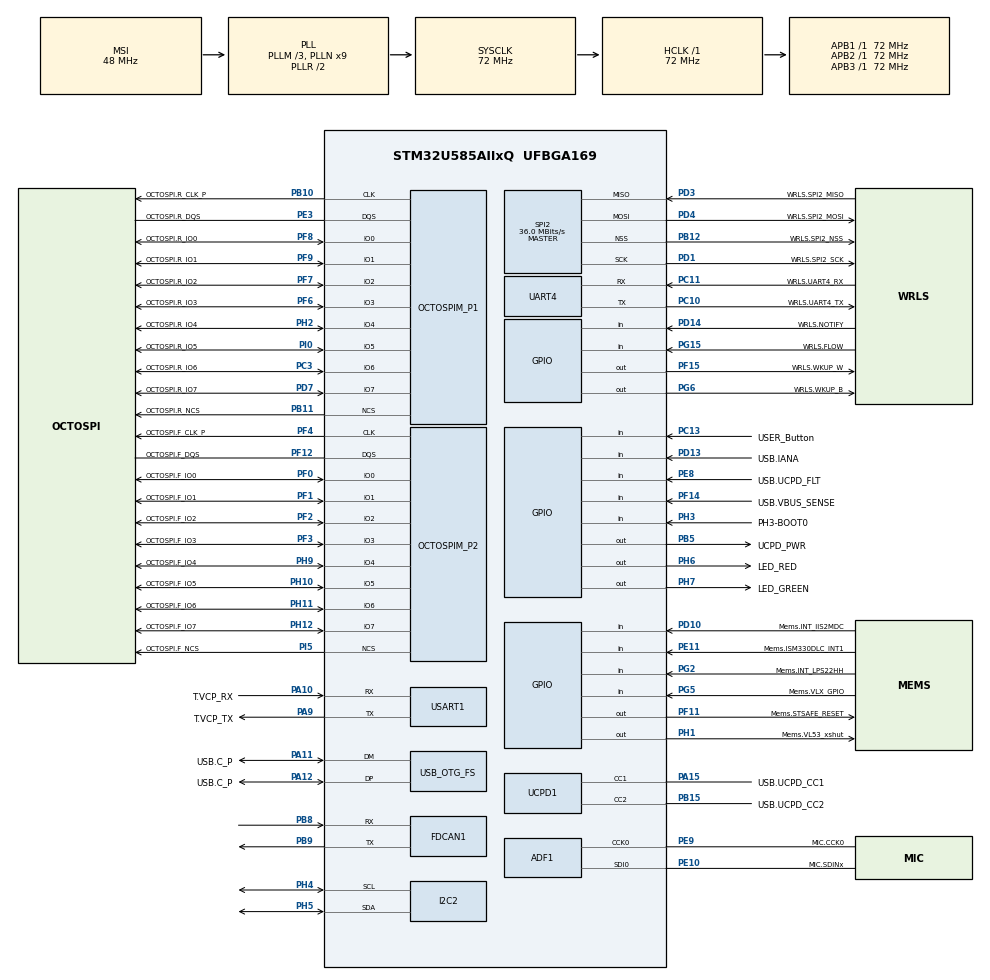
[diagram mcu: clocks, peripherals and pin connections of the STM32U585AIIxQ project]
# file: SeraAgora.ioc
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CORTEX_M33_NS.userName=CORTEX_M33
FDCAN1.CalculateBaudRateNominal=500000
FDCAN1.CalculateTimeBitNominal=2000
FDCAN1.CalculateTimeQuantumNominal=250.0
FDCAN1.NominalPrescaler=9
FDCAN1.NominalTimeSeg1=6
FDCAN1.NominalTimeSeg2=1
I2C2.Timing=0x10808DD3
Mcu.Family=STM32U5
Mcu.Name=STM32U585AIIxQ
Mcu.Package=UFBGA169
NVIC.PriorityGroup=NVIC_PRIORITYGROUP_4
OCTOSPI1.ChipSelectBoundary=10
OCTOSPI1.ClockPrescaler=2
OCTOSPI1.DelayBlockBypass=HAL_OSPI_DELAY_BLOCK_USED
OCTOSPI1.DelayHoldQuarterCycle=HAL_OSPI_DHQC_ENABLE
OCTOSPI1.DeviceSize=23
OCTOSPI1.MemoryType=HAL_OSPI_MEMTYPE_APMEMORY
OCTOSPI1.Refresh=100
OCTOSPI2.ChipSelectBoundary=0
OCTOSPI2.ChipSelectHighTime=2
OCTOSPI2.ClockPrescaler=4
OCTOSPI2.DelayBlockBypass=HAL_OSPI_DELAY_BLOCK_USED
OCTOSPI2.DelayHoldQuarterCycle=HAL_OSPI_DHQC_ENABLE
OCTOSPI2.DeviceSize=26
OCTOSPI2.FifoThreshold=4
OCTOSPI2.MemoryType=HAL_OSPI_MEMTYPE_MACRONIX
PA10.GPIO_Label=T.VCP_RX
PA10.Mode=Asynchronous
PA10.Signal=USART1_RX
PA11.GPIO_Label=USB.C_P
PA11.Mode=Device_Only
PA11.Signal=USB_OTG_FS_DM
PA12.GPIO_Label=USB.C_P
PA12.Mode=Device_Only
PA12.Signal=USB_OTG_FS_DP
PA13\ (JTMS/SWDIO).GPIO_Label=T.SWDIO
PA13\ (JTMS/SWDIO).Mode=Trace_Asynchronous_SW
PA13\ (JTMS/SWDIO).Signal=DEBUG_JTMS-SWDIO
PA14\ (JTCK/SWCLK).GPIO_Label=T.SWCLK
PA14\ (JTCK/SWCLK).Mode=Trace_Asynchronous_SW
PA14\ (JTCK/SWCLK).Signal=DEBUG_JTCK-SWCLK
PA15\ (JTDI).GPIO_Label=USB.UCPD_CC1
PA15\ (JTDI).Mode=Dual_Role_AllSignals
PA15\ (JTDI).Signal=UCPD1_CC1
PA9.GPIO_Label=T.VCP_TX
PA9.Mode=Asynchronous
PA9.Signal=USART1_TX
PB1.GPIO_Label=MIC.SDIN0
PB1.Signal=MDF1_SDI0
PB10.GPIO_Label=OCTOSPI.R_CLK_P
PB10.Mode=O1_P1_CLK
PB10.Signal=OCTOSPIM_P1_CLK
PB11.GPIO_Label=OCTOSPI.R_NCS
PB11.Mode=OCTOSPI1_Port1_NCS
PB11.Signal=OCTOSPIM_P1_NCS
PB12.GPIO_Label=WRLS.SPI2_NSS
PB12.Mode=NSS_Signal_Hard_Output
PB12.Signal=SPI2_NSS
PB15.GPIO_Label=USB.UCPD_CC2
PB15.Mode=Dual_Role_AllSignals
PB15.Signal=UCPD1_CC2
PB3\ (JTDO/TRACESWO).GPIO_Label=T.SWO
PB3\ (JTDO/TRACESWO).Mode=Trace_Asynchronous_SW
PB3\ (JTDO/TRACESWO).Signal=DEBUG_JTDO-SWO
PB5.GPIO_Label=UCPD_PWR
PB5.Signal=GPIO_Output
PB8.Mode=FDCAN_Activate
PB8.Signal=FDCAN1_RX
PB9.Mode=FDCAN_Activate
PB9.Signal=FDCAN1_TX
PC10.GPIO_Label=WRLS.UART4_TX
PC10.Mode=Asynchronous
PC10.Signal=UART4_TX
PC11.GPIO_Label=WRLS.UART4_RX
PC11.Mode=Asynchronous
PC11.Signal=UART4_RX
PC13.GPIO_Label=USER_Button
PC13.Signal=GPIO_Input
PC14-OSC32_IN\ (PC14).GPIO_Label=PC14-OSC32_IN
PC14-OSC32_IN\ (PC14).Mode=LSE-External-Oscillator
PC14-OSC32_IN\ (PC14).Signal=RCC_OSC32_IN
PC15-OSC32_OUT\ (PC15).GPIO_Label=PC15-OSC32_OUT
PC15-OSC32_OUT\ (PC15).Mode=LSE-External-Oscillator
PC15-OSC32_OUT\ (PC15).Signal=RCC_OSC32_OUT
PC3.GPIO_Label=OCTOSPI.R_IO6
PC3.Mode=OCTOSPI1_IOH_Port1H
PC3.Signal=OCTOSPIM_P1_IO6
PD1.GPIO_Label=WRLS.SPI2_SCK
PD1.Mode=Full_Duplex_Master
PD1.Signal=SPI2_SCK
PD10.GPIO_Label=Mems.INT_IIS2MDC
PD10.Signal=GPIO_Input
PD13.GPIO_Label=USB.IANA
PD13.Signal=GPIO_Input
PD14.GPIO_Label=WRLS.NOTIFY
PD14.Signal=GPIO_Input
PD3.GPIO_Label=WRLS.SPI2_MISO
PD3.Mode=Full_Duplex_Master
PD3.Signal=SPI2_MISO
PD4.GPIO_Label=WRLS.SPI2_MOSI
PD4.Mode=Full_Duplex_Master
PD4.Signal=SPI2_MOSI
PD7.GPIO_Label=OCTOSPI.R_IO7
PD7.Mode=OCTOSPI1_IOH_Port1H
PD7.Signal=OCTOSPIM_P1_IO7
PE10.GPIO_Label=MIC.SDINx
PE10.Mode=MOD_ADF_CCK
PE10.Signal=ADF1_SDI0
PE11.GPIO_Label=Mems.ISM330DLC_INT1
PE11.Signal=GPIO_Input
PE3.GPIO_Label=OCTOSPI.R_DQS
PE3.Mode=OCTOSPI1_Port1_DQS
PE3.Signal=OCTOSPIM_P1_DQS
PE8.GPIO_Label=USB.UCPD_FLT
PE8.Signal=GPIO_Input
PE9.GPIO_Label=MIC.CCK0
PE9.Mode=MOD_MDF_CCK0
PE9.Signal=ADF1_CCK0
PF0.GPIO_Label=OCTOSPI.F_IO0
PF0.Mode=OCTOSPI2_IOL_Port2L
PF0.Signal=OCTOSPIM_P2_IO0
PF1.GPIO_Label=OCTOSPI.F_IO1
PF1.Mode=OCTOSPI2_IOL_Port2L
PF1.Signal=OCTOSPIM_P2_IO1
PF10.GPIO_Label=MIC.CCK1
PF10.Signal=MDF1_CCK1
PF11.GPIO_Label=Mems.STSAFE_RESET
PF11.Signal=GPIO_Output
PF12.GPIO_Label=OCTOSPI.F_DQS
PF12.Mode=OCTOSPI2_Port2_DQS
PF12.Signal=OCTOSPIM_P2_DQS
PF14.GPIO_Label=USB.VBUS_SENSE
PF14.Signal=GPIO_Input
PF15.GPIO_Label=WRLS.WKUP_W
PF15.Signal=GPIO_Output
PF2.GPIO_Label=OCTOSPI.F_IO2
PF2.Mode=OCTOSPI2_IOL_Port2L
PF2.Signal=OCTOSPIM_P2_IO2
PF3.GPIO_Label=OCTOSPI.F_IO3
PF3.Mode=OCTOSPI2_IOL_Port2L
PF3.Signal=OCTOSPIM_P2_IO3
PF4.GPIO_Label=OCTOSPI.F_CLK_P
PF4.Mode=O2_P2_CLK
PF4.Signal=OCTOSPIM_P2_CLK
PF6.GPIO_Label=OCTOSPI.R_IO3
PF6.Mode=OCTOSPI1_IOL_Port1L
PF6.Signal=OCTOSPIM_P1_IO3
PF7.GPIO_Label=OCTOSPI.R_IO2
PF7.Mode=OCTOSPI1_IOL_Port1L
PF7.Signal=OCTOSPIM_P1_IO2
PF8.GPIO_Label=OCTOSPI.R_IO0
PF8.Mode=OCTOSPI1_IOL_Port1L
PF8.Signal=OCTOSPIM_P1_IO0
PF9.GPIO_Label=OCTOSPI.R_IO1
PF9.Mode=OCTOSPI1_IOL_Port1L
PF9.Signal=OCTOSPIM_P1_IO1
PG15.GPIO_Label=WRLS.FLOW
PG15.Signal=GPIO_Input
PG2.GPIO_Label=Mems.INT_LPS22HH
PG2.Signal=GPIO_Input
PG5.GPIO_Label=Mems.VLX_GPIO
PG5.Signal=GPIO_Input
PG6.GPIO_Label=WRLS.WKUP_B
PG6.Signal=GPIO_Output
PH1-OSC_OUT\ (PH1).GPIO_Label=Mems.VL53_xshut
PH1-OSC_OUT\ (PH1).Signal=GPIO_Output
PH10.GPIO_Label=OCTOSPI.F_IO5
PH10.Mode=OCTOSPI2_IOH_Port2H
PH10.Signal=OCTOSPIM_P2_IO5
PH11.GPIO_Label=OCTOSPI.F_IO6
PH11.Mode=OCTOSPI2_IOH_Port2H
PH11.Signal=OCTOSPIM_P2_IO6
PH12.GPIO_Label=OCTOSPI.F_IO7
PH12.Mode=OCTOSPI2_IOH_Port2H
PH12.Signal=OCTOSPIM_P2_IO7
PH2.GPIO_Label=OCTOSPI.R_IO4
PH2.Mode=OCTOSPI1_IOH_Port1H
PH2.Signal=OCTOSPIM_P1_IO4
PH3-BOOT0.GPIO_Label=PH3-BOOT0
PH3-BOOT0.Signal=GPIO_Input
PH4.Mode=I2C
PH4.Signal=I2C2_SCL
PH5.Mode=I2C
PH5.Signal=I2C2_SDA
PH6.GPIO_Label=LED_RED
PH6.PinState=GPIO_PIN_SET
PH6.Signal=GPIO_Output
PH7.GPIO_Label=LED_GREEN
PH7.PinState=GPIO_PIN_SET
PH7.Signal=GPIO_Output
PH9.GPIO_Label=OCTOSPI.F_IO4
PH9.Mode=OCTOSPI2_IOH_Port2H
PH9.Signal=OCTOSPIM_P2_IO4
PI0.GPIO_Label=OCTOSPI.R_IO5
PI0.Mode=OCTOSPI1_IOH_Port1H
PI0.Signal=OCTOSPIM_P1_IO5
PI5.GPIO_Label=OCTOSPI.F_NCS
PI5.Mode=OCTOSPI2_Port2_NCS
PI5.Signal=OCTOSPIM_P2_NCS
PWR.PowerMode=PWR_SMPS_SUPPLY
ProjectManager.HeapSize=0x200
ProjectManager.StackSize=0x400
ProjectManager.TargetToolchain=STM32CubeIDE
RCC.ADCFreq_Value=16000000
RCC.AHBFreq_Value=72000000
RCC.APB1Freq_Value=72000000
RCC.APB1TimFreq_Value=72000000
RCC.APB2Freq_Value=72000000
RCC.APB2TimFreq_Value=72000000
RCC.APB3Freq_Value=72000000
RCC.CortexFreq_Value=72000000
RCC.DACCLockSelectionVirtual=RCC_DAC1CLKSOURCE_LSI
RCC.EPOD_VALUE=48000000
RCC.HCLKFreq_Value=72000000
RCC.HSE_VALUE=16000000
RCC.HSI48_VALUE=48000000
RCC.HSI_VALUE=16000000
RCC.LSIDIV_VALUE=32000
RCC.MSIClockRange=RCC_MSIRANGE_0
RCC.MSI_VALUE=48000000
RCC.PLL1Q=4
RCC.PLLFRACN=0
RCC.PLLM=3
RCC.PLLN=9
RCC.SYSCLKFreq_VALUE=72000000
RCC.SYSCLKSource=RCC_SYSCLKSOURCE_PLLCLK
RCC.USBFreq_Value=48000000
RCC.VCOOutputFreq_Value=144000000
SPI2.CalculateBaudRate=36.0 MBits/s
SPI2.Direction=SPI_DIRECTION_2LINES
SPI2.Mode=SPI_MODE_MASTER
SPI2.VirtualNSS=VM_NSSHARD
SPI2.VirtualType=VM_MASTER
USART1.VirtualMode-Asynchronous=VM_ASYNC
USB_OTG_FS.VirtualMode=Device_Only
VP_ICACHE_VS_ICACHE.Mode=DirectMappedCache
VP_LPBAMQUEUE_VS_QUEUE.Mode=QUEUEMODE
VP_LPBAM_VS_SIG1.Mode=SmartRun
VP_LPBAM_VS_SIG4.Mode=LPDMA1
VP_MEMORYMAP_VS_MEMORYMAP.Mode=CurAppReg
VP_OCTOSPI1_VS_octo.Mode=octo_mode
VP_OCTOSPI2_VS_octo.Mode=octo_mode
VP_PWR_VS_DBSignals.Mode=DisableDeadBatterySignals
VP_PWR_VS_LPOM.Mode=PowerOptimisation
VP_PWR_VS_SECSignals.Mode=Security/Privilege
board=B-U585I-IOT02A

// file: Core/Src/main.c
/* USER CODE BEGIN Header */
/**
  ******************************************************************************
  * @file           : main.c
  * @brief          : Main program body
  ******************************************************************************
  * @attention
  *
  * Copyright (c) 2025 STMicroelectronics.
  * All rights reserved.
  *
  * This software is licensed under terms that can be found in the LICENSE file
  * in the root directory of this software component.
  * If no LICENSE file comes with this software, it is provided AS-IS.
  *
  ******************************************************************************
  */
/* USER CODE END Header */
#include "main.h"

/* USER CODE BEGIN Includes */
#include "string.h"
#include <stdio.h>
#include <ctype.h>
/* USER CODE END Includes */

MDF_HandleTypeDef AdfHandle0;
MDF_FilterConfigTypeDef AdfFilterConfig0;

FDCAN_HandleTypeDef hfdcan1;

I2C_HandleTypeDef hi2c2;

OSPI_HandleTypeDef hospi1;
OSPI_HandleTypeDef hospi2;

SPI_HandleTypeDef hspi2;

UART_HandleTypeDef huart4;
UART_HandleTypeDef huart1;

PCD_HandleTypeDef hpcd_USB_OTG_FS;

void SystemClock_Config(void);
static void SystemPower_Config(void);
static void MX_GPIO_Init(void);
static void MX_ADF1_Init(void);
static void MX_I2C2_Init(void);
static void MX_ICACHE_Init(void);
static void MX_OCTOSPI1_Init(void);
static void MX_OCTOSPI2_Init(void);
static void MX_SPI2_Init(void);
static void MX_UART4_Init(void);
static void MX_USART1_UART_Init(void);
static void MX_UCPD1_Init(void);
static void MX_USB_OTG_FS_PCD_Init(void);
static void MX_FDCAN1_Init(void);

int main(void)
{

  /* MCU Configuration--------------------------------------------------------*/

  /* Reset of all peripherals, Initializes the Flash interface and the Systick. */
  HAL_Init();

  /* Configure the System Power */
  SystemPower_Config();

  /* Configure the system clock */
  SystemClock_Config();

  /* Initialize all configured peripherals */
  MX_GPIO_Init();
  MX_ADF1_Init();
  MX_I2C2_Init();
  MX_ICACHE_Init();
  MX_OCTOSPI1_Init();
  MX_OCTOSPI2_Init();
  MX_SPI2_Init();
  MX_UART4_Init();
  MX_USART1_UART_Init();
  MX_UCPD1_Init();
  MX_USB_OTG_FS_PCD_Init();
  MX_FDCAN1_Init();
  /* quick debug note to confirm FDCAN init returned */
  HAL_UART_Transmit(&huart1, (uint8_t*)"After MX_FDCAN1_Init\r\n", strlen("After MX_FDCAN1_Init\r\n"), HAL_MAX_DELAY);
  /* USER CODE BEGIN 2 */
  const char *msg_tick = "Tick\r\n";
  /* Query and print protocol status (helps detect Bus-Off etc.) */
  {
    FDCAN_ProtocolStatusTypeDef pstat;
    if (HAL_FDCAN_GetProtocolStatus(&hfdcan1, &pstat) == HAL_OK)
    {
      char pbuf[64];
      sprintf(pbuf, "FDCAN PS: BusOff=%u EP=%u LastErr=%u\r\n", (unsigned)pstat.BusOff, (unsigned)pstat.ErrorPassive, (unsigned)pstat.LastErrorCode);
      HAL_UART_Transmit(&huart1, (uint8_t*)pbuf, strlen(pbuf), HAL_MAX_DELAY);
    }
  }
  /* Activate notification for RX FIFO0 (idempotent) */
  HAL_FDCAN_ActivateNotification(&hfdcan1, FDCAN_IT_RX_FIFO0_NEW_MESSAGE, 0);

  FDCAN_TxHeaderTypeDef TxHeader;
  /* Send ASCII text limited to 8 bytes (classic CAN data length).
    " Sea mea!" is 9 chars so we truncate to the first 8: " Sea mea" */
//  uint8_t TxData[8] = { 'C', 'H', 'E', 'F', 'E', ' ', 'a', 'm' };
//  uint8_t TxData1[8] = { 'a', 'n', 'h', 'a', ' ', 'd', 'a', 's' };
//  uint8_t TxData2[8] = { '-', 'm', 'e', ' ', 'f', 'o', 'l', 'g' };
//  uint8_t TxData3[8] = { 'a', ' ', '?', '<', '3', ' ', 'S', '2' };
//  uint8_t TxData4[8] = { ' ', ' ', ' ', ' ', ' ', ' ', ' ', ' ' };

  uint8_t TxData[8] = { 'O', 'l', 'a', ' ', 'S', 'e', 'a', ' ' };
  uint8_t TxData1[8] = { 'm', 'e', ' ', 's', 'o', 'm', 'o', 's' };
  uint8_t TxData2[8] = { 'a', ' ', 't', 'e', 'a', 'm', ' ', '4' };
  uint8_t TxData3[8] = { 'd', 'r', 'i', 'v', 'a', 'p', 'i', ' ' };
  uint8_t TxData4[8] = { ' ', ' ', ' ', ' ', ' ', ' ', ' ', ' ' };

  TxHeader.Identifier = 0x123;
  TxHeader.IdType = FDCAN_STANDARD_ID;
  TxHeader.TxFrameType = FDCAN_DATA_FRAME;
  TxHeader.DataLength = FDCAN_DLC_BYTES_8;
  TxHeader.ErrorStateIndicator = FDCAN_ESI_ACTIVE;
  TxHeader.BitRateSwitch = FDCAN_BRS_OFF;
  TxHeader.FDFormat = FDCAN_CLASSIC_CAN;
  TxHeader.TxEventFifoControl = FDCAN_NO_TX_EVENTS;
  TxHeader.MessageMarker = 0;

  FDCAN_RxHeaderTypeDef rxHeader;
  uint8_t rxData[8];

  /* USER CODE END 2 */

  /* Infinite loop */
  while (1)
  {

    /* USER CODE BEGIN 3 */
  /* Periodic heartbeat on UART */
  HAL_UART_Transmit(&huart1, (uint8_t*)msg_tick, strlen(msg_tick), HAL_MAX_DELAY);
  /* Queue a CAN frame; keep the controller running (do NOT Stop/Start here) */
  if (HAL_FDCAN_AddMessageToTxFifoQ(&hfdcan1, &TxHeader, TxData) == HAL_OK)
  {
    HAL_GPIO_TogglePin(LED_GREEN_GPIO_Port, LED_GREEN_Pin);  // blink to show sending
    HAL_UART_Transmit(&huart1, (uint8_t*)"TX queued\r\n", strlen("TX queued\r\n"), HAL_MAX_DELAY);
  }
  else
  {
    char dbuf[128];
    uint32_t free = HAL_FDCAN_GetTxFifoFreeLevel(&hfdcan1);
    FDCAN_ProtocolStatusTypeDef pstat;
    if (HAL_FDCAN_GetProtocolStatus(&hfdcan1, &pstat) == HAL_OK)
    {
      sprintf(dbuf, "TX FAIL free=%lu BusOff=%u LastErr=%u\r\n", (unsigned long)free, (unsigned)pstat.BusOff, (unsigned)pstat.LastErrorCode);
    }
    else
    {
      sprintf(dbuf, "TX FAIL free=%lu ProtocolStatusErr\r\n", (unsigned long)free);
    }
    HAL_UART_Transmit(&huart1, (uint8_t*)dbuf, strlen(dbuf), HAL_MAX_DELAY);
  }
  HAL_Delay(50);
  HAL_FDCAN_AddMessageToTxFifoQ(&hfdcan1, &TxHeader, TxData1);
  HAL_Delay(50);
  HAL_FDCAN_AddMessageToTxFifoQ(&hfdcan1, &TxHeader, TxData2);
  HAL_Delay(50);
  HAL_FDCAN_AddMessageToTxFifoQ(&hfdcan1, &TxHeader, TxData3);
  HAL_Delay(50);
  HAL_FDCAN_AddMessageToTxFifoQ(&hfdcan1, &TxHeader, TxData4);
  HAL_FDCAN_AddMessageToTxFifoQ(&hfdcan1, &TxHeader, TxData4);
  HAL_Delay(1000);
  /* Simple RX polling: if a message is waiting in FIFO0, read it, toggle LED and print a short debug message */
  if (HAL_FDCAN_GetRxFifoFillLevel(&hfdcan1, FDCAN_RX_FIFO0) > 0)
  {
    if (HAL_FDCAN_GetRxMessage(&hfdcan1, FDCAN_RX_FIFO0, &rxHeader, rxData) == HAL_OK)
    {
      HAL_GPIO_TogglePin(LED_RED_GPIO_Port, LED_RED_Pin);
      /* Print received CAN message: ID, DLC and data bytes in hex */
      char rbuf[128];
      const char *idtype = (rxHeader.IdType == FDCAN_STANDARD_ID) ? "STD" : "EXT";
      unsigned int dlc = 0;
      /* Map DataLength enum to actual byte count (common values 0..8) */
      switch (rxHeader.DataLength)
      {
        case FDCAN_DLC_BYTES_0: dlc = 0; break;
        case FDCAN_DLC_BYTES_1: dlc = 1; break;
        case FDCAN_DLC_BYTES_2: dlc = 2; break;
        case FDCAN_DLC_BYTES_3: dlc = 3; break;
        case FDCAN_DLC_BYTES_4: dlc = 4; break;
        case FDCAN_DLC_BYTES_5: dlc = 5; break;
        case FDCAN_DLC_BYTES_6: dlc = 6; break;
        case FDCAN_DLC_BYTES_7: dlc = 7; break;
        case FDCAN_DLC_BYTES_8: dlc = 8; break;
        default: dlc = 8; break;
      }
      int pos = sprintf(rbuf, "RX %s ID=0x%lX DLC=%u DATA=", idtype, (unsigned long)rxHeader.Identifier, dlc);
      for (unsigned int i = 0; i < dlc && i < sizeof(rxData); ++i)
      {
        pos += sprintf(rbuf + pos, "%02X%s", rxData[i], (i+1<dlc) ? " " : "");
      }
      /* Append ASCII representation (printable chars or '.' for non-printable) */
      pos += sprintf(rbuf + pos, "  ASCII=\"");
      for (unsigned int i = 0; i < dlc && i < sizeof(rxData); ++i)
      {
        unsigned char c = rxData[i];
        rbuf[pos++] = (isprint(c) ? (char)c : '.');
      }
      pos += sprintf(rbuf + pos, "\"\r\n");
      HAL_UART_Transmit(&huart1, (uint8_t*)rbuf, pos, HAL_MAX_DELAY);
    }
  }

  HAL_Delay(1000);

  }
  /* USER CODE END 3 */
}

void SystemClock_Config(void)
{
  RCC_OscInitTypeDef RCC_OscInitStruct = {0};
  RCC_ClkInitTypeDef RCC_ClkInitStruct = {0};

  /** Configure the main internal regulator output voltage
  */
  if (HAL_PWREx_ControlVoltageScaling(PWR_REGULATOR_VOLTAGE_SCALE2) != HAL_OK)
  {
    Error_Handler();
  }

  /** Initializes the CPU, AHB and APB buses clocks
  */
  RCC_OscInitStruct.OscillatorType = RCC_OSCILLATORTYPE_HSI48|RCC_OSCILLATORTYPE_HSI
                              |RCC_OSCILLATORTYPE_MSI;
  RCC_OscInitStruct.HSIState = RCC_HSI_ON;
  RCC_OscInitStruct.HSI48State = RCC_HSI48_ON;
  RCC_OscInitStruct.HSICalibrationValue = RCC_HSICALIBRATION_DEFAULT;
  RCC_OscInitStruct.MSIState = RCC_MSI_ON;
  RCC_OscInitStruct.MSICalibrationValue = RCC_MSICALIBRATION_DEFAULT;
  RCC_OscInitStruct.MSIClockRange = RCC_MSIRANGE_0;
  RCC_OscInitStruct.PLL.PLLState = RCC_PLL_ON;
  RCC_OscInitStruct.PLL.PLLSource = RCC_PLLSOURCE_MSI;
  RCC_OscInitStruct.PLL.PLLMBOOST = RCC_PLLMBOOST_DIV4;
  RCC_OscInitStruct.PLL.PLLM = 3;
  RCC_OscInitStruct.PLL.PLLN = 9;
  RCC_OscInitStruct.PLL.PLLP = 2;
  RCC_OscInitStruct.PLL.PLLQ = 4;
  RCC_OscInitStruct.PLL.PLLR = 2;
  RCC_OscInitStruct.PLL.PLLRGE = RCC_PLLVCIRANGE_1;
  RCC_OscInitStruct.PLL.PLLFRACN = 0;
  if (HAL_RCC_OscConfig(&RCC_OscInitStruct) != HAL_OK)
  {
    Error_Handler();
  }

  /** Initializes the CPU, AHB and APB buses clocks
  */
  RCC_ClkInitStruct.ClockType = RCC_CLOCKTYPE_HCLK|RCC_CLOCKTYPE_SYSCLK
                              |RCC_CLOCKTYPE_PCLK1|RCC_CLOCKTYPE_PCLK2
                              |RCC_CLOCKTYPE_PCLK3;
  RCC_ClkInitStruct.SYSCLKSource = RCC_SYSCLKSOURCE_PLLCLK;
  RCC_ClkInitStruct.AHBCLKDivider = RCC_SYSCLK_DIV1;
  RCC_ClkInitStruct.APB1CLKDivider = RCC_HCLK_DIV1;
  RCC_ClkInitStruct.APB2CLKDivider = RCC_HCLK_DIV1;
  RCC_ClkInitStruct.APB3CLKDivider = RCC_HCLK_DIV1;

  if (HAL_RCC_ClockConfig(&RCC_ClkInitStruct, FLASH_LATENCY_2) != HAL_OK)
  {
    Error_Handler();
  }
}

/**
  * @brief Power Configuration
  * @retval None
  */
static void SystemPower_Config(void)
{
  HAL_PWREx_EnableVddIO2();

  /*
   * Switch to SMPS regulator instead of LDO
   */
  if (HAL_PWREx_ConfigSupply(PWR_SMPS_SUPPLY) != HAL_OK)
  {
    Error_Handler();
  }
}

static void MX_ADF1_Init(void)
{

  /**
    AdfHandle0 structure initialization and HAL_MDF_Init function call
  */
  AdfHandle0.Instance = ADF1_Filter0;
  AdfHandle0.Init.CommonParam.ProcClockDivider = 1;
  AdfHandle0.Init.CommonParam.OutputClock.Activation = DISABLE;
  AdfHandle0.Init.SerialInterface.Activation = ENABLE;
  AdfHandle0.Init.SerialInterface.Mode = MDF_SITF_LF_MASTER_SPI_MODE;
  AdfHandle0.Init.SerialInterface.ClockSource = MDF_SITF_CCK0_SOURCE;
  AdfHandle0.Init.SerialInterface.Threshold = 4;
  AdfHandle0.Init.FilterBistream = MDF_BITSTREAM0_FALLING;
  if (HAL_MDF_Init(&AdfHandle0) != HAL_OK)
  {
    Error_Handler();
  }

  /**
    AdfFilterConfig0 structure initialization

    WARNING : only structure is filled, no specific init function call for filter
  */
  AdfFilterConfig0.DataSource = MDF_DATA_SOURCE_BSMX;
  AdfFilterConfig0.Delay = 0;
  AdfFilterConfig0.CicMode = MDF_ONE_FILTER_SINC4;
  AdfFilterConfig0.DecimationRatio = 2;
  AdfFilterConfig0.Gain = 0;
  AdfFilterConfig0.ReshapeFilter.Activation = DISABLE;
  AdfFilterConfig0.HighPassFilter.Activation = DISABLE;
  AdfFilterConfig0.SoundActivity.Activation = DISABLE;
  AdfFilterConfig0.AcquisitionMode = MDF_MODE_ASYNC_CONT;
  AdfFilterConfig0.FifoThreshold = MDF_FIFO_THRESHOLD_NOT_EMPTY;
  AdfFilterConfig0.DiscardSamples = 0;

}

static void MX_FDCAN1_Init(void)
{
    char *msg;

    FDCAN_FilterTypeDef sFilterConfig;

    hfdcan1.Instance = FDCAN1;
    hfdcan1.Init.ClockDivider = FDCAN_CLOCK_DIV1;
    hfdcan1.Init.FrameFormat = FDCAN_FRAME_CLASSIC;
    hfdcan1.Init.Mode = FDCAN_MODE_NORMAL;
    hfdcan1.Init.AutoRetransmission = ENABLE;
    hfdcan1.Init.TransmitPause = DISABLE;
    hfdcan1.Init.ProtocolException = ENABLE;

    // Timing: 36 MHz CAN clock → ~500 kbps nominal bit rate
    hfdcan1.Init.NominalPrescaler = 4;
    hfdcan1.Init.NominalSyncJumpWidth = 1;
    hfdcan1.Init.NominalTimeSeg1 = 15;
    hfdcan1.Init.NominalTimeSeg2 = 2;

    // Data phase (not used in classic CAN)
    hfdcan1.Init.DataPrescaler = 1;
    hfdcan1.Init.DataSyncJumpWidth = 1;
    hfdcan1.Init.DataTimeSeg1 = 1;
    hfdcan1.Init.DataTimeSeg2 = 1;

    hfdcan1.Init.StdFiltersNbr = 1;
    hfdcan1.Init.ExtFiltersNbr = 0;
    hfdcan1.Init.TxFifoQueueMode = FDCAN_TX_QUEUE_OPERATION;

    // Initialize FDCAN
    if (HAL_FDCAN_Init(&hfdcan1) != HAL_OK)
    {
        msg = "FDCAN Init Failed\r\n";
        HAL_UART_Transmit(&huart1, (uint8_t*)msg, strlen(msg), HAL_MAX_DELAY);
        Error_Handler();
    }
    else
    {
        msg = "FDCAN Init OK\r\n";
        HAL_UART_Transmit(&huart1, (uint8_t*)msg, strlen(msg), HAL_MAX_DELAY);
    }

    // Configure filter to accept all standard IDs into RX FIFO 0
    sFilterConfig.IdType = FDCAN_STANDARD_ID;
    sFilterConfig.FilterIndex = 0;
    sFilterConfig.FilterType = FDCAN_FILTER_RANGE;
    sFilterConfig.FilterConfig = FDCAN_FILTER_TO_RXFIFO0;
    sFilterConfig.FilterID1 = 0x000;
    sFilterConfig.FilterID2 = 0x7FF;
    if (HAL_FDCAN_ConfigFilter(&hfdcan1, &sFilterConfig) != HAL_OK)
    {
        msg = "FDCAN Filter Config Failed\r\n";
        HAL_UART_Transmit(&huart1, (uint8_t*)msg, strlen(msg), HAL_MAX_DELAY);
        Error_Handler();
    }

    // Activate notifications
    HAL_FDCAN_ActivateNotification(&hfdcan1, FDCAN_IT_RX_FIFO0_NEW_MESSAGE, 0);

    // Start the CAN controller
    if (HAL_FDCAN_Start(&hfdcan1) != HAL_OK)
    {
        msg = "FDCAN Start Failed\r\n";
        HAL_UART_Transmit(&huart1, (uint8_t*)msg, strlen(msg), HAL_MAX_DELAY);
        Error_Handler();
    }
    else
    {
        msg = "FDCAN Started OK\r\n";
        HAL_UART_Transmit(&huart1, (uint8_t*)msg, strlen(msg), HAL_MAX_DELAY);
    }
}

static void MX_I2C2_Init(void)
{

  hi2c2.Instance = I2C2;
  hi2c2.Init.Timing = 0x10808DD3;
  hi2c2.Init.OwnAddress1 = 0;
  hi2c2.Init.AddressingMode = I2C_ADDRESSINGMODE_7BIT;
  hi2c2.Init.DualAddressMode = I2C_DUALADDRESS_DISABLE;
  hi2c2.Init.OwnAddress2 = 0;
  hi2c2.Init.OwnAddress2Masks = I2C_OA2_NOMASK;
  hi2c2.Init.GeneralCallMode = I2C_GENERALCALL_DISABLE;
  hi2c2.Init.NoStretchMode = I2C_NOSTRETCH_DISABLE;
  if (HAL_I2C_Init(&hi2c2) != HAL_OK)
  {
    Error_Handler();
  }

  /** Configure Analogue filter
  */
  if (HAL_I2CEx_ConfigAnalogFilter(&hi2c2, I2C_ANALOGFILTER_ENABLE) != HAL_OK)
  {
    Error_Handler();
  }

  /** Configure Digital filter
  */
  if (HAL_I2CEx_ConfigDigitalFilter(&hi2c2, 0) != HAL_OK)
  {
    Error_Handler();
  }

}

static void MX_ICACHE_Init(void)
{

  /** Enable instruction cache in 1-way (direct mapped cache)
  */
  if (HAL_ICACHE_ConfigAssociativityMode(ICACHE_1WAY) != HAL_OK)
  {
    Error_Handler();
  }
  if (HAL_ICACHE_Enable() != HAL_OK)
  {
    Error_Handler();
  }

}

static void MX_OCTOSPI1_Init(void)
{

  OSPIM_CfgTypeDef sOspiManagerCfg = {0};
  HAL_OSPI_DLYB_CfgTypeDef HAL_OSPI_DLYB_Cfg_Struct = {0};

  /* OCTOSPI1 parameter configuration*/
  hospi1.Instance = OCTOSPI1;
  hospi1.Init.FifoThreshold = 1;
  hospi1.Init.DualQuad = HAL_OSPI_DUALQUAD_DISABLE;
  hospi1.Init.MemoryType = HAL_OSPI_MEMTYPE_APMEMORY;
  hospi1.Init.DeviceSize = 23;
  hospi1.Init.ChipSelectHighTime = 1;
  hospi1.Init.FreeRunningClock = HAL_OSPI_FREERUNCLK_DISABLE;
  hospi1.Init.ClockMode = HAL_OSPI_CLOCK_MODE_0;
  hospi1.Init.WrapSize = HAL_OSPI_WRAP_NOT_SUPPORTED;
  hospi1.Init.ClockPrescaler = 2;
  hospi1.Init.SampleShifting = HAL_OSPI_SAMPLE_SHIFTING_NONE;
  hospi1.Init.DelayHoldQuarterCycle = HAL_OSPI_DHQC_ENABLE;
  hospi1.Init.ChipSelectBoundary = 10;
  hospi1.Init.DelayBlockBypass = HAL_OSPI_DELAY_BLOCK_USED;
  hospi1.Init.MaxTran = 0;
  hospi1.Init.Refresh = 100;
  if (HAL_OSPI_Init(&hospi1) != HAL_OK)
  {
    Error_Handler();
  }
  sOspiManagerCfg.ClkPort = 1;
  sOspiManagerCfg.DQSPort = 1;
  sOspiManagerCfg.NCSPort = 1;
  sOspiManagerCfg.IOLowPort = HAL_OSPIM_IOPORT_1_LOW;
  sOspiManagerCfg.IOHighPort = HAL_OSPIM_IOPORT_1_HIGH;
  if (HAL_OSPIM_Config(&hospi1, &sOspiManagerCfg, HAL_OSPI_TIMEOUT_DEFAULT_VALUE) != HAL_OK)
  {
    Error_Handler();
  }
  HAL_OSPI_DLYB_Cfg_Struct.Units = 0;
  HAL_OSPI_DLYB_Cfg_Struct.PhaseSel = 0;
  if (HAL_OSPI_DLYB_SetConfig(&hospi1, &HAL_OSPI_DLYB_Cfg_Struct) != HAL_OK)
  {
    Error_Handler();
  }

}

static void MX_OCTOSPI2_Init(void)
{

  OSPIM_CfgTypeDef sOspiManagerCfg = {0};
  HAL_OSPI_DLYB_CfgTypeDef HAL_OSPI_DLYB_Cfg_Struct = {0};

  /* OCTOSPI2 parameter configuration*/
  hospi2.Instance = OCTOSPI2;
  hospi2.Init.FifoThreshold = 4;
  hospi2.Init.DualQuad = HAL_OSPI_DUALQUAD_DISABLE;
  hospi2.Init.MemoryType = HAL_OSPI_MEMTYPE_MACRONIX;
  hospi2.Init.DeviceSize = 26;
  hospi2.Init.ChipSelectHighTime = 2;
  hospi2.Init.FreeRunningClock = HAL_OSPI_FREERUNCLK_DISABLE;
  hospi2.Init.ClockMode = HAL_OSPI_CLOCK_MODE_0;
  hospi2.Init.WrapSize = HAL_OSPI_WRAP_NOT_SUPPORTED;
  hospi2.Init.ClockPrescaler = 4;
  hospi2.Init.SampleShifting = HAL_OSPI_SAMPLE_SHIFTING_NONE;
  hospi2.Init.DelayHoldQuarterCycle = HAL_OSPI_DHQC_ENABLE;
  hospi2.Init.ChipSelectBoundary = 0;
  hospi2.Init.DelayBlockBypass = HAL_OSPI_DELAY_BLOCK_USED;
  hospi2.Init.MaxTran = 0;
  hospi2.Init.Refresh = 0;
  if (HAL_OSPI_Init(&hospi2) != HAL_OK)
  {
    Error_Handler();
  }
  sOspiManagerCfg.ClkPort = 2;
  sOspiManagerCfg.DQSPort = 2;
  sOspiManagerCfg.NCSPort = 2;
  sOspiManagerCfg.IOLowPort = HAL_OSPIM_IOPORT_2_LOW;
  sOspiManagerCfg.IOHighPort = HAL_OSPIM_IOPORT_2_HIGH;
  if (HAL_OSPIM_Config(&hospi2, &sOspiManagerCfg, HAL_OSPI_TIMEOUT_DEFAULT_VALUE) != HAL_OK)
  {
    Error_Handler();
  }
  HAL_OSPI_DLYB_Cfg_Struct.Units = 0;
  HAL_OSPI_DLYB_Cfg_Struct.PhaseSel = 0;
  if (HAL_OSPI_DLYB_SetConfig(&hospi2, &HAL_OSPI_DLYB_Cfg_Struct) != HAL_OK)
  {
    Error_Handler();
  }

}

static void MX_SPI2_Init(void)
{

  SPI_AutonomousModeConfTypeDef HAL_SPI_AutonomousMode_Cfg_Struct = {0};

  /* SPI2 parameter configuration*/
  hspi2.Instance = SPI2;
  hspi2.Init.Mode = SPI_MODE_MASTER;
  hspi2.Init.Direction = SPI_DIRECTION_2LINES;
  hspi2.Init.DataSize = SPI_DATASIZE_4BIT;
  hspi2.Init.CLKPolarity = SPI_POLARITY_LOW;
  hspi2.Init.CLKPhase = SPI_PHASE_1EDGE;
  hspi2.Init.NSS = SPI_NSS_HARD_OUTPUT;
  hspi2.Init.BaudRatePrescaler = SPI_BAUDRATEPRESCALER_2;
  hspi2.Init.FirstBit = SPI_FIRSTBIT_MSB;
  hspi2.Init.TIMode = SPI_TIMODE_DISABLE;
  hspi2.Init.CRCCalculation = SPI_CRCCALCULATION_DISABLE;
  hspi2.Init.CRCPolynomial = 0x7;
  hspi2.Init.NSSPMode = SPI_NSS_PULSE_ENABLE;
  hspi2.Init.NSSPolarity = SPI_NSS_POLARITY_LOW;
  hspi2.Init.FifoThreshold = SPI_FIFO_THRESHOLD_01DATA;
  hspi2.Init.MasterSSIdleness = SPI_MASTER_SS_IDLENESS_00CYCLE;
  hspi2.Init.MasterInterDataIdleness = SPI_MASTER_INTERDATA_IDLENESS_00CYCLE;
  hspi2.Init.MasterReceiverAutoSusp = SPI_MASTER_RX_AUTOSUSP_DISABLE;
  hspi2.Init.MasterKeepIOState = SPI_MASTER_KEEP_IO_STATE_DISABLE;
  hspi2.Init.IOSwap = SPI_IO_SWAP_DISABLE;
  hspi2.Init.ReadyMasterManagement = SPI_RDY_MASTER_MANAGEMENT_INTERNALLY;
  hspi2.Init.ReadyPolarity = SPI_RDY_POLARITY_HIGH;
  if (HAL_SPI_Init(&hspi2) != HAL_OK)
  {
    Error_Handler();
  }
  HAL_SPI_AutonomousMode_Cfg_Struct.TriggerState = SPI_AUTO_MODE_DISABLE;
  HAL_SPI_AutonomousMode_Cfg_Struct.TriggerSelection = SPI_GRP1_GPDMA_CH0_TCF_TRG;
  HAL_SPI_AutonomousMode_Cfg_Struct.TriggerPolarity = SPI_TRIG_POLARITY_RISING;
  if (HAL_SPIEx_SetConfigAutonomousMode(&hspi2, &HAL_SPI_AutonomousMode_Cfg_Struct) != HAL_OK)
  {
    Error_Handler();
  }

}

static void MX_UART4_Init(void)
{

  huart4.Instance = UART4;
  huart4.Init.BaudRate = 115200;
  huart4.Init.WordLength = UART_WORDLENGTH_8B;
  huart4.Init.StopBits = UART_STOPBITS_1;
  huart4.Init.Parity = UART_PARITY_NONE;
  huart4.Init.Mode = UART_MODE_TX_RX;
  huart4.Init.HwFlowCtl = UART_HWCONTROL_NONE;
  huart4.Init.OverSampling = UART_OVERSAMPLING_16;
  huart4.Init.OneBitSampling = UART_ONE_BIT_SAMPLE_DISABLE;
  huart4.Init.ClockPrescaler = UART_PRESCALER_DIV1;
  huart4.AdvancedInit.AdvFeatureInit = UART_ADVFEATURE_NO_INIT;
  if (HAL_UART_Init(&huart4) != HAL_OK)
  {
    Error_Handler();
  }
  if (HAL_UARTEx_SetTxFifoThreshold(&huart4, UART_TXFIFO_THRESHOLD_1_8) != HAL_OK)
  {
    Error_Handler();
  }
  if (HAL_UARTEx_SetRxFifoThreshold(&huart4, UART_RXFIFO_THRESHOLD_1_8) != HAL_OK)
  {
    Error_Handler();
  }
  if (HAL_UARTEx_DisableFifoMode(&huart4) != HAL_OK)
  {
    Error_Handler();
  }

}

static void MX_USART1_UART_Init(void)
{

  huart1.Instance = USART1;
  huart1.Init.BaudRate = 115200;
  huart1.Init.WordLength = UART_WORDLENGTH_8B;
  huart1.Init.StopBits = UART_STOPBITS_1;
  huart1.Init.Parity = UART_PARITY_NONE;
  huart1.Init.Mode = UART_MODE_TX_RX;
  huart1.Init.HwFlowCtl = UART_HWCONTROL_NONE;
  huart1.Init.OverSampling = UART_OVERSAMPLING_16;
  huart1.Init.OneBitSampling = UART_ONE_BIT_SAMPLE_DISABLE;
  huart1.Init.ClockPrescaler = UART_PRESCALER_DIV1;
  huart1.AdvancedInit.AdvFeatureInit = UART_ADVFEATURE_NO_INIT;
  if (HAL_UART_Init(&huart1) != HAL_OK)
  {
    Error_Handler();
  }
  if (HAL_UARTEx_SetTxFifoThreshold(&huart1, UART_TXFIFO_THRESHOLD_1_8) != HAL_OK)
  {
    Error_Handler();
  }
  if (HAL_UARTEx_SetRxFifoThreshold(&huart1, UART_RXFIFO_THRESHOLD_1_8) != HAL_OK)
  {
    Error_Handler();
  }
  if (HAL_UARTEx_DisableFifoMode(&huart1) != HAL_OK)
  {
    Error_Handler();
  }

}

static void MX_UCPD1_Init(void)
{

  LL_GPIO_InitTypeDef GPIO_InitStruct = {0};

  /* Peripheral clock enable */
  LL_APB1_GRP2_EnableClock(LL_APB1_GRP2_PERIPH_UCPD1);

  LL_AHB2_GRP1_EnableClock(LL_AHB2_GRP1_PERIPH_GPIOA);
  LL_AHB2_GRP1_EnableClock(LL_AHB2_GRP1_PERIPH_GPIOB);
  /**UCPD1 GPIO Configuration
  PA15 (JTDI)   ------> UCPD1_CC1
  PB15   ------> UCPD1_CC2
  */
  GPIO_InitStruct.Pin = LL_GPIO_PIN_15;
  GPIO_InitStruct.Mode = LL_GPIO_MODE_ANALOG;
  GPIO_InitStruct.Pull = LL_GPIO_PULL_NO;
  LL_GPIO_Init(GPIOA, &GPIO_InitStruct);

  GPIO_InitStruct.Pin = LL_GPIO_PIN_15;
  GPIO_InitStruct.Mode = LL_GPIO_MODE_ANALOG;
  GPIO_InitStruct.Pull = LL_GPIO_PULL_NO;
  LL_GPIO_Init(GPIOB, &GPIO_InitStruct);

}

static void MX_USB_OTG_FS_PCD_Init(void)
{

  hpcd_USB_OTG_FS.Instance = USB_OTG_FS;
  hpcd_USB_OTG_FS.Init.dev_endpoints = 6;
  hpcd_USB_OTG_FS.Init.speed = PCD_SPEED_FULL;
  hpcd_USB_OTG_FS.Init.phy_itface = PCD_PHY_EMBEDDED;
  hpcd_USB_OTG_FS.Init.Sof_enable = DISABLE;
  hpcd_USB_OTG_FS.Init.low_power_enable = DISABLE;
  hpcd_USB_OTG_FS.Init.lpm_enable = DISABLE;
  hpcd_USB_OTG_FS.Init.battery_charging_enable = DISABLE;
  hpcd_USB_OTG_FS.Init.use_dedicated_ep1 = DISABLE;
  hpcd_USB_OTG_FS.Init.vbus_sensing_enable = DISABLE;
  hpcd_USB_OTG_FS.Init.dma_enable = DISABLE;
  if (HAL_PCD_Init(&hpcd_USB_OTG_FS) != HAL_OK)
  {
    Error_Handler();
  }

}

static void MX_GPIO_Init(void)
{
  GPIO_InitTypeDef GPIO_InitStruct = {0};

  /* GPIO Ports Clock Enable */
  __HAL_RCC_GPIOG_CLK_ENABLE();
  __HAL_RCC_GPIOC_CLK_ENABLE();
  __HAL_RCC_GPIOA_CLK_ENABLE();
  __HAL_RCC_GPIOI_CLK_ENABLE();
  __HAL_RCC_GPIOH_CLK_ENABLE();
  __HAL_RCC_GPIOB_CLK_ENABLE();
  __HAL_RCC_GPIOD_CLK_ENABLE();
  __HAL_RCC_GPIOE_CLK_ENABLE();
  __HAL_RCC_GPIOF_CLK_ENABLE();

  /*Configure GPIO pin Output Level */
  HAL_GPIO_WritePin(UCPD_PWR_GPIO_Port, UCPD_PWR_Pin, GPIO_PIN_RESET);

  /*Configure GPIO pin Output Level */
  HAL_GPIO_WritePin(GPIOH, LED_RED_Pin|LED_GREEN_Pin, GPIO_PIN_SET);

  /*Configure GPIO pin Output Level */
  HAL_GPIO_WritePin(WRLS_WKUP_B_GPIO_Port, WRLS_WKUP_B_Pin, GPIO_PIN_RESET);

  /*Configure GPIO pin Output Level */
  HAL_GPIO_WritePin(Mems_VL53_xshut_GPIO_Port, Mems_VL53_xshut_Pin, GPIO_PIN_RESET);

  /*Configure GPIO pin Output Level */
  HAL_GPIO_WritePin(GPIOF, Mems_STSAFE_RESET_Pin|WRLS_WKUP_W_Pin, GPIO_PIN_RESET);

  /*Configure GPIO pins : WRLS_FLOW_Pin Mems_VLX_GPIO_Pin Mems_INT_LPS22HH_Pin */
  GPIO_InitStruct.Pin = WRLS_FLOW_Pin|Mems_VLX_GPIO_Pin|Mems_INT_LPS22HH_Pin;
  GPIO_InitStruct.Mode = GPIO_MODE_INPUT;
  GPIO_InitStruct.Pull = GPIO_NOPULL;
  HAL_GPIO_Init(GPIOG, &GPIO_InitStruct);

  /*Configure GPIO pin : PH3_BOOT0_Pin */
  GPIO_InitStruct.Pin = PH3_BOOT0_Pin;
  GPIO_InitStruct.Mode = GPIO_MODE_INPUT;
  GPIO_InitStruct.Pull = GPIO_NOPULL;
  HAL_GPIO_Init(PH3_BOOT0_GPIO_Port, &GPIO_InitStruct);

  /*Configure GPIO pin : UCPD_PWR_Pin */
  GPIO_InitStruct.Pin = UCPD_PWR_Pin;
  GPIO_InitStruct.Mode = GPIO_MODE_OUTPUT_PP;
  GPIO_InitStruct.Pull = GPIO_NOPULL;
  GPIO_InitStruct.Speed = GPIO_SPEED_FREQ_LOW;
  HAL_GPIO_Init(UCPD_PWR_GPIO_Port, &GPIO_InitStruct);

  /*Configure GPIO pin : USER_Button_Pin */
  GPIO_InitStruct.Pin = USER_Button_Pin;
  GPIO_InitStruct.Mode = GPIO_MODE_INPUT;
  GPIO_InitStruct.Pull = GPIO_NOPULL;
  HAL_GPIO_Init(USER_Button_GPIO_Port, &GPIO_InitStruct);

  /*Configure GPIO pins : LED_RED_Pin LED_GREEN_Pin Mems_VL53_xshut_Pin */
  GPIO_InitStruct.Pin = LED_RED_Pin|LED_GREEN_Pin|Mems_VL53_xshut_Pin;
  GPIO_InitStruct.Mode = GPIO_MODE_OUTPUT_PP;
  GPIO_InitStruct.Pull = GPIO_NOPULL;
  GPIO_InitStruct.Speed = GPIO_SPEED_FREQ_LOW;
  HAL_GPIO_Init(GPIOH, &GPIO_InitStruct);

  /*Configure GPIO pin : MIC_CCK1_Pin */
  GPIO_InitStruct.Pin = MIC_CCK1_Pin;
  GPIO_InitStruct.Mode = GPIO_MODE_AF_PP;
  GPIO_InitStruct.Pull = GPIO_NOPULL;
  GPIO_InitStruct.Speed = GPIO_SPEED_FREQ_LOW;
  GPIO_InitStruct.Alternate = GPIO_AF6_MDF1;
  HAL_GPIO_Init(MIC_CCK1_GPIO_Port, &GPIO_InitStruct);

  /*Configure GPIO pin : WRLS_WKUP_B_Pin */
  GPIO_InitStruct.Pin = WRLS_WKUP_B_Pin;
  GPIO_InitStruct.Mode = GPIO_MODE_OUTPUT_PP;
  GPIO_InitStruct.Pull = GPIO_NOPULL;
  GPIO_InitStruct.Speed = GPIO_SPEED_FREQ_LOW;
  HAL_GPIO_Init(WRLS_WKUP_B_GPIO_Port, &GPIO_InitStruct);

  /*Configure GPIO pins : WRLS_NOTIFY_Pin Mems_INT_IIS2MDC_Pin USB_IANA_Pin */
  GPIO_InitStruct.Pin = WRLS_NOTIFY_Pin|Mems_INT_IIS2MDC_Pin|USB_IANA_Pin;
  GPIO_InitStruct.Mode = GPIO_MODE_INPUT;
  GPIO_InitStruct.Pull = GPIO_NOPULL;
  HAL_GPIO_Init(GPIOD, &GPIO_InitStruct);

  /*Configure GPIO pins : USB_UCPD_FLT_Pin Mems_ISM330DLC_INT1_Pin */
  GPIO_InitStruct.Pin = USB_UCPD_FLT_Pin|Mems_ISM330DLC_INT1_Pin;
  GPIO_InitStruct.Mode = GPIO_MODE_INPUT;
  GPIO_InitStruct.Pull = GPIO_NOPULL;
  HAL_GPIO_Init(GPIOE, &GPIO_InitStruct);

  /*Configure GPIO pin : USB_VBUS_SENSE_Pin */
  GPIO_InitStruct.Pin = USB_VBUS_SENSE_Pin;
  GPIO_InitStruct.Mode = GPIO_MODE_INPUT;
  GPIO_InitStruct.Pull = GPIO_NOPULL;
  HAL_GPIO_Init(USB_VBUS_SENSE_GPIO_Port, &GPIO_InitStruct);

  /*Configure GPIO pins : Mems_STSAFE_RESET_Pin WRLS_WKUP_W_Pin */
  GPIO_InitStruct.Pin = Mems_STSAFE_RESET_Pin|WRLS_WKUP_W_Pin;
  GPIO_InitStruct.Mode = GPIO_MODE_OUTPUT_PP;
  GPIO_InitStruct.Pull = GPIO_NOPULL;
  GPIO_InitStruct.Speed = GPIO_SPEED_FREQ_LOW;
  HAL_GPIO_Init(GPIOF, &GPIO_InitStruct);

  /*Configure GPIO pin : MIC_SDIN0_Pin */
  GPIO_InitStruct.Pin = MIC_SDIN0_Pin;
  GPIO_InitStruct.Mode = GPIO_MODE_AF_PP;
  GPIO_InitStruct.Pull = GPIO_NOPULL;
  GPIO_InitStruct.Speed = GPIO_SPEED_FREQ_LOW;
  GPIO_InitStruct.Alternate = GPIO_AF6_MDF1;
  HAL_GPIO_Init(MIC_SDIN0_GPIO_Port, &GPIO_InitStruct);

}

void Error_Handler(void)
{
  __disable_irq();
  while (1)
  {
  }
}
